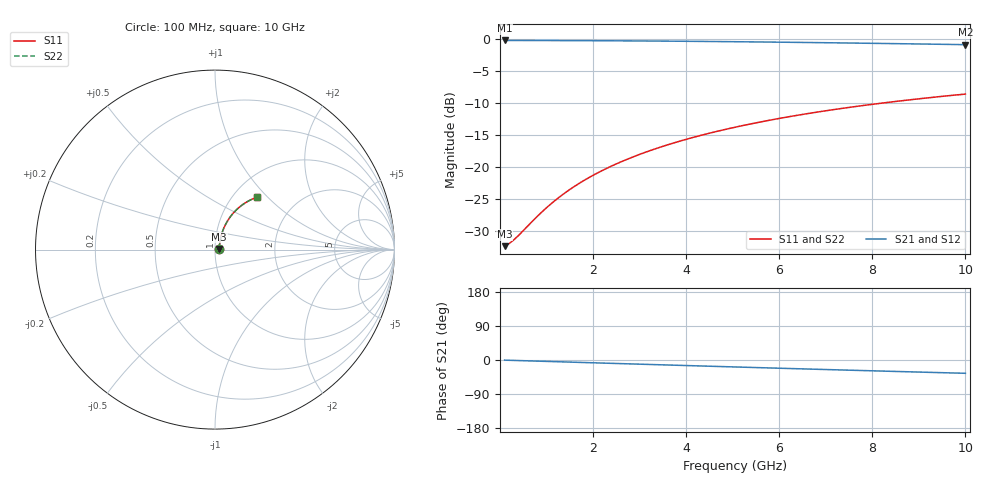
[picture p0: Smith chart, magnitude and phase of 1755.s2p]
# Hz S RI R 50.00
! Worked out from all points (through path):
!   100 points, 100 MHz to 10 GHz, reference 50 ohm
!   highest |S21| = -0.21 dB at 100 MHz (marker M1); lowest = -0.9 dB at 10 GHz (marker M2)
!   group delay of S21, straight-line fit = 9.77 ps
!   lowest |S11| = -32.3 dB at 100 MHz (marker M3), VSWR 1.05, Z = 52.4 + j0.421 ohm
!   |S11| at or under -10 dB: start of sweep to 8.2 GHz
!   |S22| runs from -32.3 to -8.6 dB; largest |S21 - S12| = 0
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1e8  0.0238 0.00401  0.9761 -0.00628  0.9761 -0.00628  0.0238 0.00401
2e8  0.0241 0.00802  0.9759 -0.0126  0.9759 -0.0126  0.0241 0.00802
3e8  0.0243 0.012  0.9757 -0.0188  0.9757 -0.0188  0.0243 0.012
4e8  0.0246 0.016  0.9754 -0.0251  0.9754 -0.0251  0.0246 0.016
8e8  0.0261 0.032  0.9737 -0.0501  0.9737 -0.0501  0.0261 0.032
1.1e9  0.0277 0.0439  0.972 -0.0688  0.972 -0.0688  0.0277 0.0439
1.4e9  0.0297 0.0557  0.9697 -0.0874  0.9697 -0.0874  0.0297 0.0557
1.6e9  0.0313 0.0635  0.968 -0.0998  0.968 -0.0998  0.0313 0.0635
1.8e9  0.0331 0.0712  0.966 -0.1121  0.966 -0.1121  0.0331 0.0712
2.1e9  0.0362 0.0828  0.9626 -0.1305  0.9626 -0.1305  0.0362 0.0828
2.5e9  0.0409 0.0979  0.9574 -0.1547  0.9574 -0.1547  0.0409 0.0979
2.9e9  0.0464 0.1127  0.9513 -0.1786  0.9513 -0.1786  0.0464 0.1127
3.4e9  0.0543 0.1308  0.9427 -0.2081  0.9427 -0.2081  0.0543 0.1308
3.8e9  0.0613 0.1448  0.9348 -0.2312  0.9348 -0.2312  0.0613 0.1448
4.2e9  0.069 0.1583  0.9263 -0.2538  0.9263 -0.2538  0.069 0.1583
4.6e9  0.0774 0.1714  0.917 -0.2761  0.917 -0.2761  0.0774 0.1714
5.1e9  0.0886 0.187  0.9045 -0.3031  0.9045 -0.3031  0.0886 0.187
5.9e9  0.1083 0.2103  0.8824 -0.3447  0.8824 -0.3447  0.1083 0.2103
6.7e9  0.1299 0.2312  0.8581 -0.384  0.8581 -0.384  0.1299 0.2312
7.5e9  0.1531 0.2497  0.8318 -0.421  0.8318 -0.421  0.1531 0.2497
8.4e9  0.1807 0.2674  0.8004 -0.4595  0.8004 -0.4595  0.1807 0.2674
1e10  0.2322 0.2909  0.7407 -0.5203  0.7407 -0.5203  0.2322 0.2909
